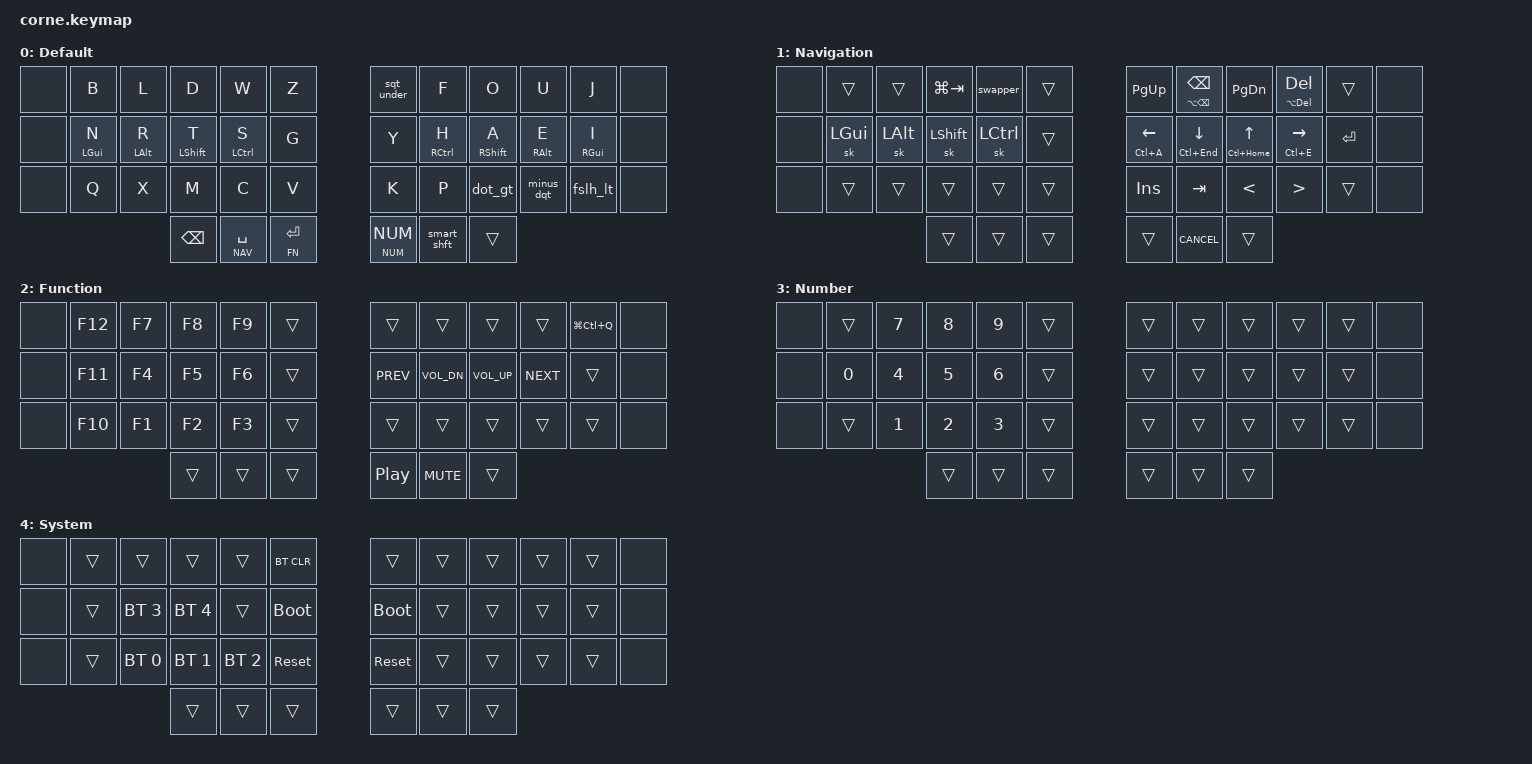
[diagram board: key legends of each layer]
#include <behaviors.dtsi>
#include <dt-bindings/zmk/keys.h>
#include <dt-bindings/zmk/bt.h>

#include "helpers/key-positions.h"

// layer IDs
#define DEF 0
#define NAV 1
#define FN 2
#define NUM 3
#define SYS 4
#define UC 5
#define MOUSE 6

#include "helpers/combos.dtsi"

#define XX &none
#define __ &trans

//  42 keys physical layout
#define LEFT_KEYS LT0 LT1 LT2 LT3 LT4 LT5 LM0 LM1 LM2 LM3 LM4 LM5 LB0 LB1 LB2 LB3 LB4 LB5
#define RIGHT_KEYS RT0 RT1 RT2 RT3 RT4 RT5 RM0 RM1 RM2 RM3 RM4 RM5 RB0 RB1 RB2 RB3 RB4 RB5
#define THUMBS LH2 LH1 LH0 RH0 RH1 RH2

#define QUICK_TAP_MS 175

#define STKY_NUM &mo_sl NUM NUM
#define LOCK &kp LG(LC(Q))
// tap: left | long-tap: beginning of line
#define NAV_LEFT &mt LC(A) LEFT
// tap: right | long-tap: end of line
#define NAV_RIGHT &mt LC(E) RIGHT
// tap: up | long-tap: beginning of document
#define NAV_UP &mt LC(HOME) UP
// tap: down | long-tap: end of document
#define NAV_DOWN &mt LC(END) DOWN
// tap: bcsp | long tap: delete word backward
#define NAV_BSPC &mt LA(BSPC) BSPC
// tap: del | long tap: delete word forward
#define NAV_DEL &mt LA(DEL) DEL

// tune global behaviors

&sk { // sticky-key config
    release-after-ms = <900>;
    quick-release;
};

&sl { // sticky-layer config
    ignore-modifiers;
};

&lt { // layer-tap config
    flavor = "balanced";
    tapping-term-ms = <200>;
    quick-tap-ms = <QUICK_TAP_MS>;
};

&mt { // mod-tap config
    flavor = "tap-preferred";
    tapping-term-ms = <220>;
    quick-tap-ms = <220>;
    hold-trigger-key-positions = <0>;
};

/ {
    behaviors {
        // home row mods
        hml: hold_tap_left_hand {
            compatible = "zmk,behavior-hold-tap";
            #binding-cells = <2>;
            flavor = "balanced";
            tapping-term-ms = <280>;
            quick-tap-ms = <QUICK_TAP_MS>; // double-tap + hold repeats tap-key
            // require-prior-idle-ms = <150>;
            bindings = <&kp>, <&kp>;
            hold-trigger-key-positions = <RIGHT_KEYS THUMBS>;
            hold-trigger-on-release;
        };
        hmr: hold_tap_right_hand {
            compatible = "zmk,behavior-hold-tap";
            #binding-cells = <2>;
            flavor = "balanced";
            tapping-term-ms = <280>;
            quick-tap-ms = <QUICK_TAP_MS>; // double-tap + hold repeats tap-key
            // require-prior-idle-ms = <150>;
            bindings = <&kp>, <&kp>;
            hold-trigger-key-positions = <LEFT_KEYS THUMBS>;
            hold-trigger-on-release;
        };
        // combo home row mods
        hml_repeat: hold_tap_repeat {
            compatible = "zmk,behavior-hold-tap";
            #binding-cells = <2>;
            flavor = "balanced";
            tapping-term-ms = <280>;
            quick-tap-ms = <QUICK_TAP_MS>;
            require-prior-idle-ms = <150>;
            bindings = <&kp>, <&key_repeat>;
            hold-trigger-key-positions = <RIGHT_KEYS THUMBS>;
            hold-trigger-on-release;
        };
        hmr_lpar_lt: hold_tap_left_paren_less_than {
            compatible = "zmk,behavior-hold-tap";
            #binding-cells = <2>;
            flavor = "balanced";
            tapping-term-ms = <280>;
            quick-tap-ms = <QUICK_TAP_MS>;
            require-prior-idle-ms = <150>;
            bindings = <&kp>, <&lpar_lt>;
            hold-trigger-key-positions = <LEFT_KEYS THUMBS>;
            hold-trigger-on-release;
        };
        hmr_rpar_gt: hold_tap_right_paren_greater_than {
            compatible = "zmk,behavior-hold-tap";
            #binding-cells = <2>;
            flavor = "balanced";
            tapping-term-ms = <280>;
            quick-tap-ms = <QUICK_TAP_MS>;
            require-prior-idle-ms = <150>;
            bindings = <&kp>, <&rpar_gt>;
            hold-trigger-key-positions = <LEFT_KEYS THUMBS>;
            hold-trigger-on-release;
        };
        // hold taps
        mo_sl: hold_tap_sticky_num {
            compatible = "zmk,behavior-hold-tap";
            #binding-cells = <2>;
            flavor = "balanced";
            tapping-term-ms = <200>;
            quick-tap-ms = <QUICK_TAP_MS>;
            bindings = <&mo>, <&sl>;
        };


        // mod-morphs

        // tap: sticky-shift | shift + tap/ double-tap: caps-word | hold: shift
        smart_shft: mod_morph_smart_shift {
            compatible = "zmk,behavior-mod-morph";
            #binding-cells = <0>;
            bindings = <&sk LSHFT>, <&caps_word>;
            mods = <(MOD_LSFT)>;
        };
        sqt_under: mod_morph_single_quote_underscore {
            compatible = "zmk,behavior-mod-morph";
            #binding-cells = <0>;
            bindings = <&kp SQT>, <&kp UNDERSCORE>;
            mods = <(MOD_LSFT|MOD_RSFT)>;
        };
        dot_gt: mod_morph_period_greater_than {
            compatible = "zmk,behavior-mod-morph";
            #binding-cells = <0>;
            bindings = <&kp DOT>, <&kp GT>;
            mods = <(MOD_LSFT|MOD_RSFT)>;
        };
        minus_dqt: mod_morph_minus_double_quote {
            compatible = "zmk,behavior-mod-morph";
            #binding-cells = <0>;
            bindings = <&kp MINUS>, <&kp DQT>;
            mods = <(MOD_LSFT|MOD_RSFT)>;
        };
        fslh_lt: mod_morph_forward_slash_less_than {
            compatible = "zmk,behavior-mod-morph";
            #binding-cells = <0>;
            bindings = <&kp FSLH>, <&kp LT>;
            mods = <(MOD_LSFT|MOD_RSFT)>;
        };
        lbt_lbc: mod_morph_left_bracket_left_brace {
            compatible = "zmk,behavior-mod-morph";
            #binding-cells = <0>;
            bindings = <&kp LBKT>, <&kp LBRC>;
            mods = <(MOD_LSFT|MOD_RSFT)>;
        };
        rbt_rbc: mod_morph_right_bracket_right_brace {
            compatible = "zmk,behavior-mod-morph";
            #binding-cells = <0>;
            bindings = <&kp RBKT>, <&kp RBRC>;
            mods = <(MOD_LSFT|MOD_RSFT)>;
        };
        lpar_lt: mod_morph_left_paren_less_than {
            compatible = "zmk,behavior-mod-morph";
            #binding-cells = <0>;
            bindings = <&kp LPAR>, <&kp LT>;
            mods = <(MOD_LSFT|MOD_RSFT)>;
        };
        rpar_gt: mod_morph_right_paren_greater_than {
            compatible = "zmk,behavior-mod-morph";
            #binding-cells = <0>;
            bindings = <&kp RPAR>, <&kp GT>;
            mods = <(MOD_LSFT|MOD_RSFT)>;
        };
    };
    macros {
        swapper: swapper {
            compatible = "zmk,behavior-macro";
            #binding-cells = <0>;
            bindings
                = <&macro_press &kp LGUI>
                , <&macro_tap &kp TAB>
                , <&macro_pause_for_release>
                , <&macro_release &kp LGUI>
                ;
        };
    };
    conditional_layers {
        compatible = "zmk,conditional-layers";

        system_layer {
            if-layers = <FN NUM>;
            then-layer = <SYS>;
        };
    };
    keymap {
        compatible = "zmk,keymap";

        default_layer {
            display-name = "Default";
            bindings = <
//╭────╮ ╭─────────────┬─────────────┬─────────────┬─────────────┬─────────────╮ ╭─────────────┬─────────────┬─────────────┬─────────────┬─────────────╮ ╭────╮
    XX     &kp B         &kp L         &kp D         &kp W         &kp Z           &sqt_under    &kp F         &kp O         &kp U         &kp J           XX
//├────┤ ├─────────────┼─────────────┼─────────────┼─────────────┼─────────────┤ ├─────────────┼─────────────┼─────────────┼─────────────┼─────────────┤ ├────┤
    XX     &hml LGUI N   &hml LALT R   &hml LSHFT T  &hml LCTRL S  &kp G           &kp Y         &hmr RCTRL H  &hmr RSHFT A  &hmr RALT E   &hmr RGUI I     XX
//├────┤ ├─────────────┼─────────────┼─────────────┼─────────────┼─────────────┤ ├─────────────┼─────────────┼─────────────┼─────────────┼─────────────┤ ├────┤
    XX     &kp Q         &kp X         &kp M         &kp C         &kp V           &kp K         &kp P         &dot_gt       &minus_dqt    &fslh_lt        XX
//╰────╯ ╰─────────────┴─────────────┼─────────────┼─────────────┼─────────────┤ ├─────────────┼─────────────┼─────────────┼─────────────┴─────────────╯ ╰────╯
                                       &kp BSPC      &lt NAV SPACE &lt FN RET      STKY_NUM      &smart_shft   __
//                                   ╰─────────────┴─────────────┴─────────────╯ ╰─────────────┴─────────────┴─────────────╯
            >;
        };
        navigation_layer {
            display-name = "Navigation";
            bindings = <
//╭────╮ ╭─────────────┬─────────────┬─────────────┬─────────────┬─────────────╮ ╭─────────────┬─────────────┬─────────────┬─────────────┬─────────────╮ ╭────╮
    XX     __            __            &kp LG(TAB)   &swapper      __              &kp PG_UP     NAV_BSPC      &kp PG_DN     NAV_DEL       __              XX
//├────┤ ├─────────────┼─────────────┼─────────────┼─────────────┼─────────────┤ ├─────────────┼─────────────┼─────────────┼─────────────┼─────────────┤ ├────┤
    XX     &sk LGUI      &sk LALT      &sk LSHFT     &sk LCTRL     __              NAV_LEFT      NAV_DOWN      NAV_UP        NAV_RIGHT     &kp RET         XX
//├────┤ ├─────────────┼─────────────┼─────────────┼─────────────┼─────────────┤ ├─────────────┼─────────────┼─────────────┼─────────────┼─────────────┤ ├────┤
    XX     __            __            __            __            __              &kp INS       &kp TAB       &kp LT        &kp GT        __              XX
//╰────╯ ╰─────────────┴─────────────┼─────────────┼─────────────┼─────────────┤ ├─────────────┼─────────────┼─────────────┼─────────────┴─────────────╯ ╰────╯
                                       __            __            __              __            &kp K_CANCEL  __
//                                   ╰─────────────┴─────────────┴─────────────╯ ╰─────────────┴─────────────┴─────────────╯
            >;
        };
        function_layer {
            display-name = "Function";
            bindings = <
//╭────╮ ╭─────────────┬─────────────┬─────────────┬─────────────┬─────────────╮ ╭─────────────┬─────────────┬─────────────┬─────────────┬─────────────╮ ╭────╮
    XX     &kp F12       &kp F7        &kp F8        &kp F9        __              __            __            __            __            LOCK            XX  
//├────┤ ├─────────────┼─────────────┼─────────────┼─────────────┼─────────────┤ ├─────────────┼─────────────┼─────────────┼─────────────┼─────────────┤ ├────┤
    XX     &kp F11       &kp F4        &kp F5        &kp F6        __              &kp C_PREV    &kp C_VOL_DN  &kp C_VOL_UP  &kp C_NEXT    __              XX  
//├────┤ ├─────────────┼─────────────┼─────────────┼─────────────┼─────────────┤ ├─────────────┼─────────────┼─────────────┼─────────────┼─────────────┤ ├────┤
    XX     &kp F10       &kp F1        &kp F2        &kp F3        __              __            __            __            __            __              XX  
//╰────╯ ╰─────────────┴─────────────┼─────────────┼─────────────┼─────────────┤ ├─────────────┼─────────────┼─────────────┼─────────────┴─────────────╯ ╰────╯
                                       __            __            __              &kp C_PP      &kp C_MUTE    __
//                                   ╰─────────────┴─────────────┴─────────────╯ ╰─────────────┴─────────────┴─────────────╯
            >;
        };
        number_layer {
            display-name = "Number";
            bindings = <
//╭────╮ ╭─────────────┬─────────────┬─────────────┬─────────────┬─────────────╮ ╭─────────────┬─────────────┬─────────────┬─────────────┬─────────────╮ ╭────╮
    XX     __            &kp N7        &kp N8        &kp N9        __              __            __            __            __            __              XX  
//├────┤ ├─────────────┼─────────────┼─────────────┼─────────────┼─────────────┤ ├─────────────┼─────────────┼─────────────┼─────────────┼─────────────┤ ├────┤
    XX     &kp N0        &kp N4        &kp N5        &kp N6        __              __            __            __            __            __              XX  
//├────┤ ├─────────────┼─────────────┼─────────────┼─────────────┼─────────────┤ ├─────────────┼─────────────┼─────────────┼─────────────┼─────────────┤ ├────┤
    XX     __            &kp N1        &kp N2        &kp N3        __              __            __            __            __            __              XX  
//╰────╯ ╰─────────────┴─────────────┼─────────────┼─────────────┼─────────────┤ ├─────────────┼─────────────┼─────────────┼─────────────┴─────────────╯ ╰────╯
                                       __            __            __              __            __            __
//                                   ╰─────────────┴─────────────┴─────────────╯ ╰─────────────┴─────────────┴─────────────╯
            >;
        };
        system_layer {
            display-name = "System";
            bindings = <
//╭────╮ ╭─────────────┬─────────────┬─────────────┬─────────────┬─────────────╮ ╭─────────────┬─────────────┬─────────────┬─────────────┬─────────────╮ ╭────╮
    XX     __            __            __            __            &bt BT_CLR      __            __            __            __            __              XX  
//├────┤ ├─────────────┼─────────────┼─────────────┼─────────────┼─────────────┤ ├─────────────┼─────────────┼─────────────┼─────────────┼─────────────┤ ├────┤
    XX     __            &bt BT_SEL 3  &bt BT_SEL 4  __            &bootloader     &bootloader   __            __            __            __              XX  
//├────┤ ├─────────────┼─────────────┼─────────────┼─────────────┼─────────────┤ ├─────────────┼─────────────┼─────────────┼─────────────┼─────────────┤ ├────┤
    XX     __            &bt BT_SEL 0  &bt BT_SEL 1  &bt BT_SEL 2  &sys_reset      &sys_reset    __            __            __            __              XX  
//╰────╯ ╰─────────────┴─────────────┼─────────────┼─────────────┼─────────────┤ ├─────────────┼─────────────┼─────────────┼─────────────┴─────────────╯ ╰────╯
                                       __            __            __              __            __            __
//                                   ╰─────────────┴─────────────┴─────────────╯ ╰─────────────┴─────────────┴─────────────╯
            >;
        };
    };
};
